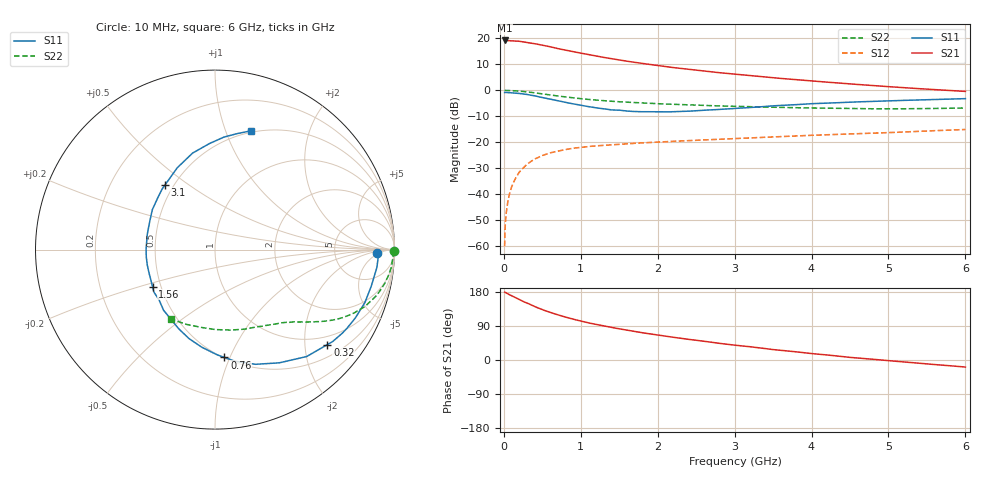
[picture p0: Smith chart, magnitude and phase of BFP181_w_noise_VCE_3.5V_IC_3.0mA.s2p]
! Infineon Technologies  Discrete & RF Semiconductors
! BFP181
! VCE = 3.5 V,  IC =  3.0 mA
! Common Emitter S-Parameters:  Jan 2016
# GHz  S  MA  R  50
!  f  S11  S21  S12  S22
! GHz  MAG  ANG  MAG  ANG  MAG  ANG  MAG  ANG
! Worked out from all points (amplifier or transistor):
!   210 points, 10 MHz to 6 GHz, reference 50 ohm
!   highest |S21| = 19.2 dB at 10 MHz (marker M1)
!   |S21| within 3 dB of that: start of sweep to 683.2 MHz
!   unconditionally stable (mu >= 1): 2.119 GHz to end of sweep
!   at 185 MHz: K = 0.13, MSG = 25.5 dB, |S12| = -32.2 dB
!   at 1.52 GHz: K = 0.80, MSG = 16.2 dB, |S12| = -20.8 dB
!   at 6 GHz: K = 1.09, MAG = 5.5 dB, |S12| = -15.1 dB
!   lowest NFmin = 1.40 dB at 450 MHz
!   S11 on the Smith chart (normalised r, x): 10 MHz: 19, -4; 320 MHz: 0.78, -2.52; 760 MHz: 0.51, -0.95; 1.56 GHz: 0.45, -0.22; 3.1 GHz: 0.45, +0.41; 6 GHz: 0.48, +1.22
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0.01  0.9049 -1.3  9.098 179.0  0.001 93.5  0.9946 -0.5
0.02  0.9103 -2.8  9.042 178.3  0.0028 80.8  0.9929 -1.1
0.03  0.9089 -4.0  9.042 177.1  0.0042 85.8  0.9925 -1.7
0.08  0.8978 -10.4  8.985 171.7  0.011 84.3  0.9885 -4.6
0.2  0.8695 -26.0  8.781 159.4  0.0265 74.7  0.9642 -11.3
0.26  0.8485 -33.3  8.518 153.7  0.0329 71.2  0.9453 -14.4
0.32  0.82 -40.2  8.238 148.7  0.0395 67.0  0.9239 -17.2
0.4  0.7847 -49.4  7.904 140.9  0.0474 62.2  0.8944 -20.7
0.5  0.7255 -60.4  7.381 132.7  0.0554 56.8  0.8529 -24.4
0.6  0.6779 -70.5  6.916 125.6  0.0624 52.8  0.8126 -27.6
0.76  0.6029 -85.0  6.111 115.7  0.0703 47.1  0.7574 -31.3
0.9  0.5488 -97.7  5.572 107.8  0.0768 43.2  0.716 -34.0
1.02  0.5093 -107.9  5.122 101.8  0.08 40.4  0.6847 -36.0
1.28  0.4455 -128.7  4.342 90.6  0.0867 36.0  0.6333 -39.6
1.56  0.4045 -149.4  3.711 80.3  0.0926 33.1  0.5944 -42.7
1.8  0.3869 -167.3  3.291 71.9  0.0972 31.4  0.5688 -45.4
2.02  0.3835 178.3  2.963 65.4  0.101 30.0  0.5498 -48.0
2.4  0.396 156.8  2.535 54.5  0.1074 28.2  0.5239 -52.9
3.1  0.4559 127.5  1.977 37.2  0.1194 25.4  0.4856 -63.0
4.1  0.5584 101.0  1.475 15.2  0.1376 21.1  0.4532 -81.2
5.1  0.6338 84.2  1.148 -3.4  0.1552 17.2  0.4401 -102.4
6  0.6905 73.3  0.951 -18.6  0.1759 12.8  0.4573 -122.2
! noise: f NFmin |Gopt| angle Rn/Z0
0.45  1.4  0.56  17  0.36
0.9  1.5  0.45  35  0.34
1.8  1.85  0.25  82  0.36
